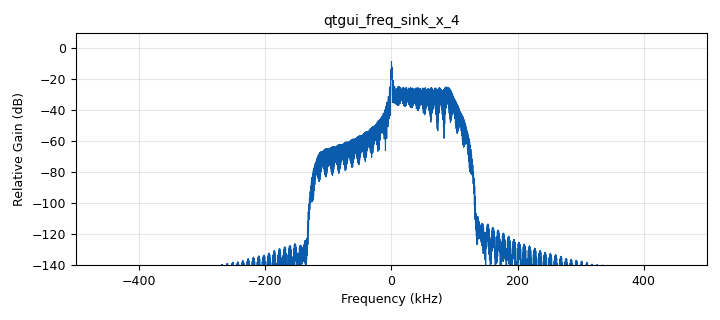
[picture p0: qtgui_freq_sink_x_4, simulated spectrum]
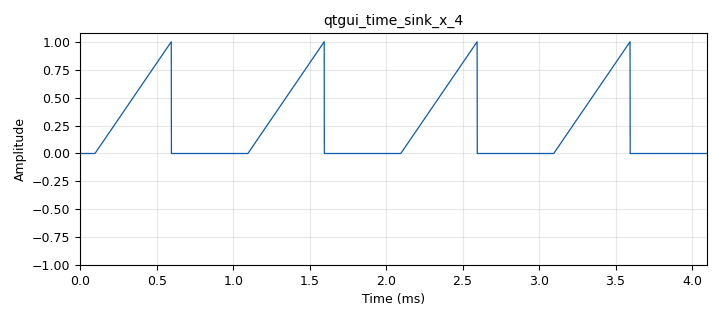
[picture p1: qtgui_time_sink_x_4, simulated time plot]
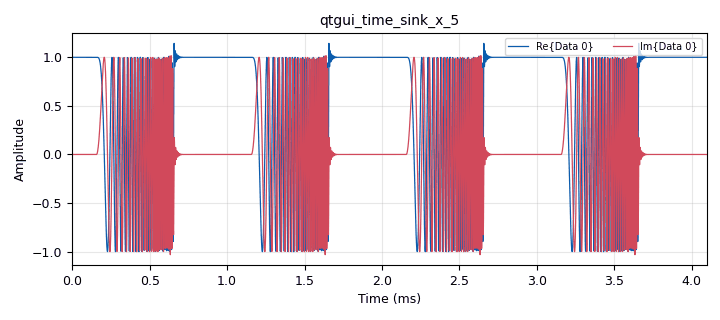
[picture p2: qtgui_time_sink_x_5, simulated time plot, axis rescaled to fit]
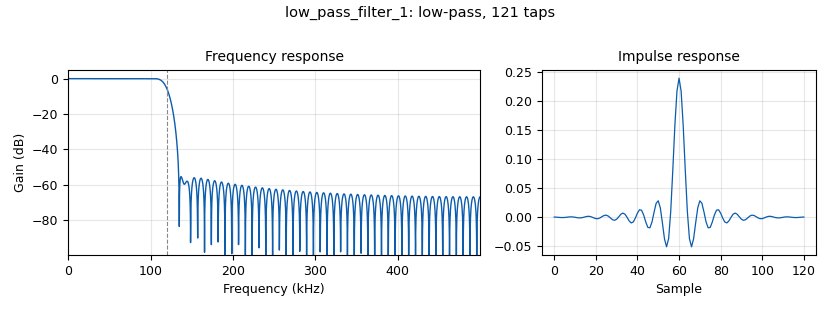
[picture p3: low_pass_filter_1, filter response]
options:
  parameters:
    author: atsy_
    generate_options: qt_gui
    id: audo_fmcw_test
    output_language: python
    title: Not titled yet
  states: {}

blocks:
- name: audio_gain
  id: variable_qtgui_range
  parameters:
    gui_hint: band_rej_row, 0, 1, 1
    start: '0'
    step: '1'
    stop: '100'
    value: '50'
  states: {}
- name: audio_samp_rate
  id: variable
  parameters:
    value: '48000'
  states: {}
- name: band_rej_row
  id: variable
  parameters:
    value: '5'
  states: {}
- name: buffer_size
  id: variable
  parameters:
    value: '1024'
  states: {}
- name: bw
  id: variable
  parameters:
    value: 100e3
  states: {}
- name: delta_r
  id: variable
  parameters:
    value: 3e8/(2*bw)
  states: {}
- name: duration
  id: variable
  parameters:
    value: '0.001'
  states: {}
- name: freq
  id: variable
  parameters:
    value: 1e3
  states: {}
- name: lpf_row
  id: variable
  parameters:
    value: '4'
  states: {}
- name: pi
  id: variable
  parameters:
    value: math.pi
  states: {}
- name: rx_gain
  id: variable_qtgui_range
  parameters:
    gui_hint: rx_row, 0
    start: '0'
    step: '1'
    stop: '70'
    value: '40'
  states: {}
- name: rx_row
  id: variable
  parameters:
    value: '2'
  states: {}
- name: samp_rate
  id: variable
  parameters:
    value: 1e6
  states: {}
- name: tx_attenuation
  id: variable_qtgui_range
  parameters:
    gui_hint: tx_row, 0
    start: '0'
    step: '1'
    stop: '70'
    value: '10'
  states: {}
- name: tx_row
  id: variable
  parameters:
    value: '0'
  states: {}
- name: vco_sensitivity
  id: variable
  parameters:
    value: 2*bw*pi
  states: {}
- name: analog_sig_source_x_0
  id: analog_sig_source_x
  parameters:
    amp: '1'
    freq: freq
    offset: '0'
    phase: '0'
    samp_rate: samp_rate
    type: float
    waveform: analog.GR_SAW_WAVE
  states: {state: disabled}
- name: audio_sink_0
  id: audio_sink
  parameters:
    samp_rate: audio_samp_rate
  states: {state: disabled}
- name: band_reject_filter_0
  id: band_reject_filter
  parameters:
    decim: '1'
    gain: '1'
    high_cutoff_freq: '1250'
    low_cutoff_freq: '750'
    samp_rate: samp_rate
    type: fir_filter_ccf
    width: '250'
    win: window.WIN_BLACKMAN
  states: {state: disabled}
- name: blocks_complex_to_real_0
  id: blocks_complex_to_real
  parameters: {}
  states: {state: disabled}
- name: blocks_complex_to_real_1
  id: blocks_complex_to_real
  parameters: {}
  states: {state: disabled}
- name: blocks_multiply_conjugate_cc_0
  id: blocks_multiply_conjugate_cc
  parameters: {}
  states: {state: disabled}
- name: blocks_multiply_const_vxx_0
  id: blocks_multiply_const_vxx
  parameters:
    const: audio_gain
    type: complex
  states: {state: disabled}
- name: blocks_throttle2_0
  id: blocks_throttle2
  parameters:
    samples_per_second: samp_rate
    type: complex
  states: {}
- name: blocks_vco_c_0
  id: blocks_vco_c
  parameters:
    amplitude: '1.0'
    samp_rate: samp_rate
    sensitivity: vco_sensitivity
  states: {state: disabled}
- name: blocks_vco_c_1
  id: blocks_vco_c
  parameters:
    amplitude: '1'
    samp_rate: samp_rate
    sensitivity: vco_sensitivity
  states: {}
- name: epy_block_0
  id: epy_block
  parameters:
    _source_code: |-
      """
      Embedded Python Blocks:

      Each time this file is saved, GRC will instantiate the first class it finds
      to get ports and parameters of your block. The arguments to __init__  will
      be the parameters. All of them are required to have default values!
      """

      import numpy as np
      from gnuradio import gr

      class blk(gr.sync_block):
          def __init__(self, samp_rate=1e6, bw=100e3, duration=70e-6, total_samples=70):
              gr.sync_block.__init__(
                  self,
                  name="FMCW Ramp with Idle (1MS/s)",
                  in_sig=None,
                  out_sig=[np.float32]
              )

              self.samp_rate = int(samp_rate)
              self.bw = bw
              self.duration = duration
              self.total_samples = int(total_samples)

              self.n_chirp = int(self.total_samples // 2)
              self.n_idle = int(self.total_samples - self.n_chirp)

              # Chirp ramp from -1 to 1 (control input for VCO)
              self.chirp = np.linspace(0, 1.0, self.n_chirp, dtype=np.float32)
              self.idle = np.zeros(self.n_idle, dtype=np.float32)

              self.frame = np.concatenate((self.chirp, self.idle))
              self.ptr = 0

          def work(self, input_items, output_items):
              out = output_items[0]
              
              for i in range(len(out)):
                  out[i] = self.frame[self.ptr]
                  self.ptr = (self.ptr + 1) % self.total_samples
              return len(out)
    bw: bw
    duration: duration
    samp_rate: samp_rate
    total_samples: samp_rate * duration
  states: {}
- name: epy_block_1
  id: epy_block
  parameters:
    _source_code: |
      """
      Embedded Python Blocks:

      Each time this file is saved, GRC will instantiate the first class it finds
      to get ports and parameters of your block. The arguments to __init__  will
      be the parameters. All of them are required to have default values!
      """

      import numpy as np
      from gnuradio import gr

      class blk(gr.sync_block):
          def __init__(self, samp_rate=1e6, bw=100e3, duration=70e-6, total_samples=70):
              gr.sync_block.__init__(
                  self,
                  name="Tagged Complex FMCW Chirp",
                  in_sig=None,
                  out_sig=[np.complex64]
              )

              self.samp_rate = int(samp_rate)
              self.bw = bw
              self.duration = duration
              self.total_samples = int(total_samples)

              self.n_chirp = int(duration * samp_rate)
              self.n_idle = self.total_samples - self.n_chirp

              # Time vector for chirp
              t = np.arange(self.n_chirp) / self.samp_rate
              slope = (2 * self.bw) / self.duration  # Hz/s

              # Instantaneous phase: phi(t) = 2π(f0 t + ½ S t²)
              phase = 2 * np.pi * (-self.bw * t + 0.5 * slope * t**2)
              chirp = np.exp(1j * phase).astype(np.complex64)

              # Combine chirp + idle (silence)
              idle = np.zeros(self.n_idle, dtype=np.complex64)
              self.frame = np.concatenate((chirp, idle))

              self.ptr = 0
              self.abs_sample_count = 0  # Needed for tagging

          def work(self, input_items, output_items):
              out = output_items[0]
              n = len(out)

              for i in range(n):
                  out[i] = self.frame[self.ptr]

                  self.ptr = (self.ptr + 1) % self.total_samples
                  self.abs_sample_count += 1

              return n
    bw: bw
    duration: duration
    samp_rate: samp_rate
    total_samples: samp_rate * duration
  states: {state: disabled}
- name: iio_pluto_sink_0
  id: iio_pluto_sink
  parameters:
    attenuation1: tx_attenuation
    bandwidth: '2000000'
    buffer_size: buffer_size
    cyclic: 'False'
    filter_source: '''Auto'''
    frequency: '2400000000'
    samplerate: int(samp_rate)
    type: fc32
    uri: ip:192.168.2.1
  states: {state: disabled}
- name: iio_pluto_source_0
  id: iio_pluto_source
  parameters:
    bandwidth: '2000000'
    bbdc: 'True'
    buffer_size: buffer_size
    filter_source: '''Auto'''
    frequency: '2400000000'
    gain1: '''manual'''
    manual_gain1: rx_gain
    quadrature: 'True'
    rfdc: 'True'
    samplerate: int(samp_rate)
    type: fc32
    uri: ip:192.168.2.1
  states: {state: disabled}
- name: import_0
  id: import
  parameters:
    imports: import math
  states: {}
- name: low_pass_filter_0
  id: low_pass_filter
  parameters:
    cutoff_freq: 5e3
    decim: '1'
    gain: '1'
    samp_rate: samp_rate
    type: fir_filter_ccf
    width: 1e3
    win: window.WIN_HAMMING
  states: {state: disabled}
- name: low_pass_filter_1
  id: low_pass_filter
  parameters:
    cutoff_freq: 120e3
    decim: '1'
    gain: '1'
    samp_rate: samp_rate
    type: fir_filter_ccf
    width: 20e3
    win: window.WIN_HAMMING
  states: {}
- name: note_0
  id: note
  parameters:
    comment: |-
      Your current Signal Source (Sawtooth) generates a baseband ramp signal (a sawtooth waveform)
      but it is just a linear ramp in amplitude (voltage). It is not directly frequency-modulated yet.
      A VCO (Complex) block uses this ramp as the control voltage input to create a complex exponential signal
       (e^(j*2π*f(t)*t)), producing an FMCW chirp waveform with frequency changing linearly over time.
    note: Purpose of VCO
  states: {}
- name: note_1
  id: note
  parameters:
    comment: |-
      delta_r = c / 2*bw

      At 10 MHz BW (PlutoSDR Max BW = 20MHz):
      delta_r = 3e8 / (2*10e6) = 15m
    note: Range Resolution
  states: {}
- name: note_2
  id: note
  parameters:
    comment: To get a frequency subtraction (beat frequency)
    note: Mul. Conj.
  states: {}
- name: qtgui_const_sink_x_2
  id: qtgui_const_sink_x
  parameters:
    gui_hint: tx_row+1, 2, 1,1
    name: '"Tx Complex"'
    size: 1024*2
    type: complex
  states: {state: disabled}
- name: qtgui_freq_sink_x_0
  id: qtgui_freq_sink_x
  parameters:
    bw: samp_rate
    fc: '0'
    fftsize: '1024'
    gui_hint: lpf_row, 1, 1, 1
    name: '"LPF Frequency Domain"'
    type: float
  states: {state: disabled}
- name: qtgui_freq_sink_x_1
  id: qtgui_freq_sink_x
  parameters:
    bw: samp_rate
    fc: '0'
    fftsize: '2048'
    gui_hint: rx_row+1, 1, 1, 1
    label1: Rx Frequency Domain
    name: '"Rx Frequency Domain"'
    norm_window: 'True'
    type: complex
  states: {state: disabled}
- name: qtgui_freq_sink_x_2
  id: qtgui_freq_sink_x
  parameters:
    bw: samp_rate
    fc: '0'
    fftsize: '1024'
    label1: Bandpass Frequency Domain
    name: '"Bandpass Frequency Domain"'
    type: complex
  states: {state: disabled}
- name: qtgui_freq_sink_x_3
  id: qtgui_freq_sink_x
  parameters:
    bw: samp_rate
    fc: '0'
    fftsize: '2048'
    gui_hint: tx_row+1,1, 1, 1
    name: '"Tx Frequency Domain"'
    type: complex
  states: {state: disabled}
- name: qtgui_freq_sink_x_4
  id: qtgui_freq_sink_x
  parameters:
    bw: samp_rate
    fc: '0'
    fftsize: '4096'
    norm_window: 'True'
    type: complex
  states: {}
- name: qtgui_time_sink_x_0
  id: qtgui_time_sink_x
  parameters:
    entags: 'False'
    gui_hint: tx_row+1, 0, 1, 1
    label1: ''
    name: '"Tx Time Domain"'
    size: 1024*2
    srate: samp_rate
    type: complex
    update_time: '0.1'
    ylabel: Tx Amplitude
  states: {state: disabled}
- name: qtgui_time_sink_x_1
  id: qtgui_time_sink_x
  parameters:
    gui_hint: lpf_row, 0, 1, 1
    label1: ''
    size: '1024'
    srate: samp_rate
    type: float
    yunit: '"LPF Time Domain"'
  states: {state: disabled}
- name: qtgui_time_sink_x_2
  id: qtgui_time_sink_x
  parameters:
    gui_hint: rx_row+1, 0, 1, 1
    label1: Rx Time Domain
    name: '"Rx Time Domain"'
    size: 1024*2
    srate: samp_rate
    type: complex
  states: {state: disabled}
- name: qtgui_time_sink_x_3
  id: qtgui_time_sink_x
  parameters:
    label1: ''
    name: '"Bandpass Time Domain"'
    size: '1024'
    srate: samp_rate
    type: complex
  states: {state: disabled}
- name: qtgui_time_sink_x_4
  id: qtgui_time_sink_x
  parameters:
    size: 1024*4
    srate: samp_rate
    type: float
  states: {}
- name: qtgui_time_sink_x_5
  id: qtgui_time_sink_x
  parameters:
    size: 1024*4
    srate: samp_rate
    type: complex
  states: {}
- name: qtgui_waterfall_sink_x_0
  id: qtgui_waterfall_sink_x
  parameters:
    bw: samp_rate
    fc: '0'
    fftsize: '2048'
    gui_hint: lpf_row,2, 1, 1
    type: float
  states: {state: disabled}

connections:
- [analog_sig_source_x_0, '0', blocks_vco_c_0, '0']
- [band_reject_filter_0, '0', blocks_complex_to_real_0, '0']
- [band_reject_filter_0, '0', blocks_multiply_const_vxx_0, '0']
- [blocks_complex_to_real_0, '0', audio_sink_0, '0']
- [blocks_complex_to_real_1, '0', qtgui_freq_sink_x_0, '0']
- [blocks_complex_to_real_1, '0', qtgui_time_sink_x_1, '0']
- [blocks_complex_to_real_1, '0', qtgui_waterfall_sink_x_0, '0']
- [blocks_multiply_conjugate_cc_0, '0', low_pass_filter_0, '0']
- [blocks_multiply_conjugate_cc_0, '0', qtgui_freq_sink_x_1, '0']
- [blocks_multiply_conjugate_cc_0, '0', qtgui_time_sink_x_2, '0']
- [blocks_multiply_const_vxx_0, '0', qtgui_freq_sink_x_2, '0']
- [blocks_multiply_const_vxx_0, '0', qtgui_time_sink_x_3, '0']
- [blocks_throttle2_0, '0', low_pass_filter_1, '0']
- [blocks_vco_c_0, '0', blocks_multiply_conjugate_cc_0, '1']
- [blocks_vco_c_0, '0', iio_pluto_sink_0, '0']
- [blocks_vco_c_0, '0', qtgui_const_sink_x_2, '0']
- [blocks_vco_c_0, '0', qtgui_freq_sink_x_3, '0']
- [blocks_vco_c_0, '0', qtgui_time_sink_x_0, '0']
- [blocks_vco_c_1, '0', blocks_throttle2_0, '0']
- [epy_block_0, '0', blocks_vco_c_0, '0']
- [epy_block_0, '0', blocks_vco_c_1, '0']
- [epy_block_0, '0', qtgui_time_sink_x_4, '0']
- [epy_block_1, '0', blocks_throttle2_0, '0']
- [iio_pluto_source_0, '0', blocks_multiply_conjugate_cc_0, '0']
- [low_pass_filter_0, '0', band_reject_filter_0, '0']
- [low_pass_filter_0, '0', blocks_complex_to_real_1, '0']
- [low_pass_filter_1, '0', qtgui_freq_sink_x_4, '0']
- [low_pass_filter_1, '0', qtgui_time_sink_x_5, '0']

metadata:
  file_format: 1
  grc_version: 3.10.10.0
